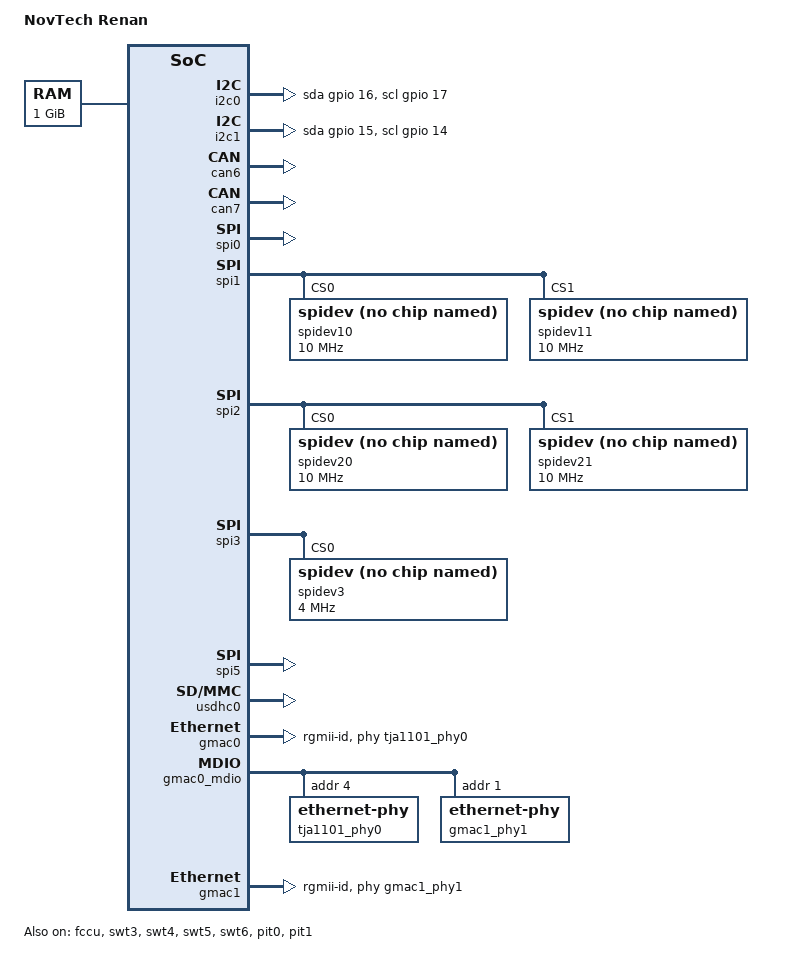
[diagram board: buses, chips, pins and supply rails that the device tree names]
// SPDX-License-Identifier: GPL-2.0
/*
 * Copyright 2023 NXP
 *
 * This program is free software; you can redistribute it and/or modify
 * it under the terms of the GNU General Public License as published by
 * the Free Software Foundation; either version 2 of the License, or
 * (at your option) any later version.
 */

/dts-v1/;
#include "s32r45.dtsi"
#include "s32cc-nxp-flash-macronix.dtsi"
#include <dt-bindings/gpio/gpio.h>

/ {
	model = "NovTech Renan";

	aliases {
		gmac0 = &gmac0;
		gmac1 = &gmac1;
	};

	chosen {
		stdout-path = "serial0:115200n8";
	};

	/* Renan board has only 1GB on RAM. Remap the memory layout. */
	/delete-node/ memory@880000000;

	memory@80000000 {
		device_type = "memory";
		reg = <0 0x80000000 0 0x40000000>; /* 1GB */
	};

	reserved-memory {
		linux,cma {
			compatible = "shared-dma-pool";
			reusable;
			reg = <0x0 0xaa000000 0x0 0x4000000>;	/* 64 MB */
			size = <0 0x4000000>; /* 64MB */
			linux,cma-default;
		};
	};

	soc {
		/* For Rev1 we don't have the QSPI. */
		/delete-node/ qspi;
	};
};

&pci_shared_memory0 {
	reg = <0x0 0xa0400000 0x0 0x400000>;    /* 4 MB */
};

&pci_shared_memory1 {
	reg = <0x0 0xa0800000 0x0 0x400000>;    /* 4 MB */
};

&scmi_tx_buf {
	reg = <0x0 0xa0000000 0x0 0x80>;
};

&scmi_rx_buf {
	reg = <0x0 0xa0000080 0x0 0x80>;
};

&generic_timer {
	clock-frequency = <5000000>;
};

&i2c0 {
	pinctrl-names = "default", "gpio";
	pinctrl-0 = <&i2c0_pins>;
	pinctrl-1 = <&i2c0_gpio_pins>;
	scl-gpios = <&gpio 17 (GPIO_ACTIVE_HIGH | GPIO_OPEN_DRAIN)>;
	sda-gpios = <&gpio 16 (GPIO_ACTIVE_HIGH | GPIO_OPEN_DRAIN)>;
	status = "okay";
};

&i2c1 {
	pinctrl-names = "default", "gpio";
	pinctrl-0 = <&i2c1_pins>;
	pinctrl-1 = <&i2c1_gpio_pins>;
	scl-gpios = <&gpio 14 (GPIO_ACTIVE_HIGH | GPIO_OPEN_DRAIN)>;
	sda-gpios = <&gpio 15 (GPIO_ACTIVE_HIGH | GPIO_OPEN_DRAIN)>;
	status = "okay";
};

&can6 {
	pinctrl-names = "default";
	pinctrl-0 =  <&can6_pins>;
	status = "okay";
};

&can7 {
	pinctrl-names = "default";
	pinctrl-0 =  <&can7_pins>;
	status = "okay";
};

&fccu {
	status = "okay";
};

&swt3 {
	status = "okay";
};

&swt4 {
	status = "okay";
};

&swt5 {
	status = "okay";
};

&swt6 {
	status = "okay";
};

&pit0 {
	status = "okay";
};

&pit1 {
	status = "okay";
};

&pinctrl {
	status = "okay";

	dspi0_pins: dspi0 {
		dspi0_grp0 {
			pinmux = <S32CC_PINMUX(14, FUNC3)>,
			   <S32CC_PINMUX(6, FUNC2)>;
			output-enable;
			slew-rate = <S32CC_GPIO_3V3_SLEW_50MHZ>;
		};

		dspi0_grp1 {
			pinmux = <S32CC_PINMUX(132, FUNC0)>;
			input-enable;
			slew-rate = <S32CC_GPIO_3V3_SLEW_50MHZ>;
			bias-pull-up;
		};

		dspi0_grp2 {
			pinmux = <S32CC_PINMUX(7, FUNC2)>,
			   <S32CC_PINMUX(8, FUNC5)>;
			output-enable;
			slew-rate = <S32CC_GPIO_3V3_SLEW_50MHZ>;
			bias-pull-up;
		};

		dspi0_grp3 {
			pinmux = <S32CC_PINMUX(611, FUNC5)>;
		};
	};

	dspi1_pins: dspi1_pins {
		dspi1_grp0 {
			pinmux = <S32CC_PINMUX(20, FUNC1)>,
			   <S32CC_PINMUX(22, FUNC1)>;
			output-enable;
			slew-rate = <S32CC_GPIO_3V3_SLEW_50MHZ>;
		};

		dspi1_grp1 {
			pinmux = <S32CC_PINMUX(21, FUNC0)>;
			input-enable;
			slew-rate = <S32CC_GPIO_3V3_SLEW_50MHZ>;
			bias-pull-up;
		};

		dspi1_grp2 {
			pinmux = <S32CC_PINMUX(23, FUNC1)>,
			   <S32CC_PINMUX(24, FUNC1)>,
			   <S32CC_PINMUX(35, FUNC1)>,
			   <S32CC_PINMUX(26, FUNC1)>;
			output-enable;
			slew-rate = <S32CC_GPIO_3V3_SLEW_50MHZ>;
			bias-pull-up;
		};

		dspi1_grp3 {
			pinmux = <S32CC_PINMUX(623, FUNC4)>;
		};
	};

	dspi2_pins: dspi2_pins {
		dspi2_grp0 {
			pinmux = <S32CC_PINMUX(27, FUNC1)>,
			   <S32CC_PINMUX(29, FUNC1)>;
			output-enable;
			slew-rate = <S32CC_GPIO_3V3_SLEW_50MHZ>;
		};

		dspi2_grp1 {
			pinmux = <S32CC_PINMUX(30, FUNC1)>,
			   <S32CC_PINMUX(31, FUNC1)>;
			output-enable;
			slew-rate = <S32CC_GPIO_3V3_SLEW_50MHZ>;
			bias-pull-up;
		};

		dspi2_grp2 {
			pinmux = <S32CC_PINMUX(33, FUNC0)>;
			input-enable;
			slew-rate = <S32CC_GPIO_3V3_SLEW_50MHZ>;
			bias-pull-up;
		};

		dspi2_grp3 {
			pinmux = <S32CC_PINMUX(681, FUNC2)>;
		};
	};

	dspi3_pins: dspi3_pins {
		dspi3_grp0 {
			pinmux = <S32CC_PINMUX(45, FUNC1)>,
			   <S32CC_PINMUX(36, FUNC1)>;
			output-enable;
			slew-rate = <S32CC_GPIO_3V3_SLEW_50MHZ>;
		};

		dspi3_grp1 {
			pinmux = <S32CC_PINMUX(38, FUNC1)>;
			input-enable;
			slew-rate = <S32CC_GPIO_3V3_SLEW_50MHZ>;
			bias-pull-up;
		};

		dspi3_grp2 {
			pinmux = <S32CC_PINMUX(39, FUNC1)>,
			   <S32CC_PINMUX(40, FUNC1)>;
			output-enable;
			slew-rate = <S32CC_GPIO_3V3_SLEW_50MHZ>;
			bias-pull-up;
		};

		dspi3_grp3 {
			pinmux = <S32CC_PINMUX(654, FUNC3)>;
		};
	};

	dspi5_pins: dspi5_pins {
		dspi5_grp0 {
			pinmux = <S32CC_PINMUX(128, FUNC1)>,
			   <S32CC_PINMUX(53, FUNC3)>;
			output-enable;
			slew-rate = <S32CC_GPIO_3V3_SLEW_50MHZ>;
		};

		dspi5_grp1 {
			pinmux = <S32CC_PINMUX(133, FUNC4)>;
			input-enable;
			slew-rate = <S32CC_GPIO_3V3_SLEW_50MHZ>;
			bias-pull-up;
		};

		dspi5_grp2 {
			pinmux = <S32CC_PINMUX(131, FUNC3)>;
			output-enable;
			slew-rate = <S32CC_GPIO_3V3_SLEW_50MHZ>;
		};

		dspi5_grp3 {
			pinmux = <S32CC_PINMUX(750, FUNC3)>;
		};
	};

	mdio2_pins: mdio2_pins {
		mdio2_grp0 {
			pinmux = <S32CC_PINMUX(60, FUNC1)>;
			output-enable;
			slew-rate = <S32CC_FAST_SLEW_166MHZ>;
		};

		mdio2_grp1 {
			pinmux = <S32CC_PINMUX(61, FUNC1)>;
			drive-open-drain;
			output-enable;
			input-enable;
			slew-rate = <S32CC_FAST_SLEW_166MHZ>;
		};

		mdio2_grp2 {
			pinmux = <S32CC_PINMUX(527, FUNC2)>;
		};
	};

	rgmii2_pins: rgmii2_pins {
		 rgmii2_grp0 {
			 pinmux = <S32CC_PINMUX(66, FUNC1)>;
			 output-enable;
			 slew-rate = <S32CC_FAST_SLEW_166MHZ>;
			 bias-pull-up;
		 };

		 rgmii2_grp1 {
			 pinmux = <S32CC_PINMUX(67, FUNC1)>,
				<S32CC_PINMUX(68, FUNC1)>,
				<S32CC_PINMUX(69, FUNC1)>,
				<S32CC_PINMUX(70, FUNC1)>,
				<S32CC_PINMUX(71, FUNC1)>;
			 output-enable;
			 slew-rate = <S32CC_FAST_SLEW_166MHZ>;
		 };

		 rgmii2_grp2 {
			 pinmux = <S32CC_PINMUX(72, FUNC1)>,
				<S32CC_PINMUX(73, FUNC6)>,
				<S32CC_PINMUX(74, FUNC6)>,
				<S32CC_PINMUX(75, FUNC6)>,
				<S32CC_PINMUX(76, FUNC6)>,
				<S32CC_PINMUX(77, FUNC6)>;
			 input-enable;
			 slew-rate = <S32CC_FAST_SLEW_166MHZ>;
		 };

		 rgmii2_grp3 {
			 pinmux = <S32CC_PINMUX(538, FUNC2)>,
				<S32CC_PINMUX(529, FUNC2)>,
				<S32CC_PINMUX(530, FUNC2)>,
				<S32CC_PINMUX(531, FUNC2)>,
				<S32CC_PINMUX(532, FUNC2)>,
				<S32CC_PINMUX(533, FUNC2)>,
				<S32CC_PINMUX(534, FUNC2)>;
		 };
	 };

	/* From the schematics looks like GMAC1 does not have dedicated MDIO pins. */
	rgmii3_pins: rgmii3_pins {
		 rgmii3_grp0 {
			 pinmux = <S32CC_PINMUX(109, FUNC2)>;
			 output-enable;
			 slew-rate = <S32CC_FAST_SLEW_166MHZ>;
			 bias-pull-up;
		 };

		 rgmii3_grp1 {
			 pinmux = <S32CC_PINMUX(110, FUNC2)>,
				<S32CC_PINMUX(105, FUNC2)>,
				<S32CC_PINMUX(106, FUNC2)>,
				<S32CC_PINMUX(107, FUNC2)>,
				<S32CC_PINMUX(108, FUNC1)>;
			 output-enable;
			 slew-rate = <S32CC_FAST_SLEW_166MHZ>;
		 };

		 rgmii3_grp2 {
			 pinmux = <S32CC_PINMUX(113, FUNC1)>,
				<S32CC_PINMUX(114, FUNC2)>,
				<S32CC_PINMUX(115, FUNC1)>,
				<S32CC_PINMUX(116, FUNC1)>,
				<S32CC_PINMUX(117, FUNC1)>,
				<S32CC_PINMUX(118, FUNC2)>;
			 input-enable;
			 slew-rate = <S32CC_FAST_SLEW_166MHZ>;
		 };

		 rgmii3_grp3 {
			 pinmux = <S32CC_PINMUX(660, FUNC2)>,
				<S32CC_PINMUX(662, FUNC2)>,
				<S32CC_PINMUX(663, FUNC2)>,
				<S32CC_PINMUX(664, FUNC2)>,
				<S32CC_PINMUX(665, FUNC2)>,
				<S32CC_PINMUX(666, FUNC2)>,
				<S32CC_PINMUX(667, FUNC2)>;
		 };
	};

	i2c0_pins: i2c0_pins {
		i2c0_grp0 {
			pinmux = <S32CC_PINMUX(16, FUNC1)>,
				<S32CC_PINMUX(17, FUNC1)>;
			drive-open-drain;
			output-enable;
			input-enable;
			slew-rate = <S32CC_GPIO_3V3_SLEW_50MHZ>;
		};

		i2c0_grp1 {
			pinmux = <S32CC_PINMUX(565, FUNC2)>,
					 <S32CC_PINMUX(566, FUNC2)>;
		};
	};

	i2c0_gpio_pins: i2c0_gpio_pins {
			i2c0_gpio_grp0 {
				pinmux = <S32CC_PINMUX(16, FUNC0)>,
						 <S32CC_PINMUX(17, FUNC0)>;
				drive-open-drain;
				output-enable;
				slew-rate = <S32CC_GPIO_3V3_SLEW_50MHZ>;
			};

			i2c0_gpio_grp1 {
				pinmux = <S32CC_PINMUX(565, FUNC0)>,
						 <S32CC_PINMUX(566, FUNC0)>;
			};
	};

	i2c1_pins: i2c1_pins {
		i2c1_grp0 {
			pinmux = <S32CC_PINMUX(615, FUNC2)>,
				<S32CC_PINMUX(616, FUNC2)>;
		};

		i2c1_grp1 {
			pinmux = <S32CC_PINMUX(44, FUNC5)>,
					 <S32CC_PINMUX(15, FUNC3)>;
			drive-open-drain;
			output-enable;
			input-enable;
			slew-rate = <S32CC_GPIO_3V3_SLEW_50MHZ>;
		};
	};

	i2c1_gpio_pins: i2c1_gpio_pins {
		i2c1_gpio_grp0 {
				pinmux = <S32CC_PINMUX(615, FUNC0)>,
				   <S32CC_PINMUX(616, FUNC0)>;
			};

		i2c1_gpio_grp1 {
			pinmux = <S32CC_PINMUX(44, FUNC0)>,
				   <S32CC_PINMUX(15, FUNC0)>;
			drive-open-drain;
			output-enable;
			slew-rate = <S32CC_GPIO_3V3_SLEW_50MHZ>;
		};
	};

	qspi_pins: qspi_pins {
		qspi_grp0 {
			pinmux = <S32CC_PINMUX(85, FUNC1)>,
				<S32CC_PINMUX(86, FUNC1)>,
				<S32CC_PINMUX(87, FUNC1)>,
				<S32CC_PINMUX(88, FUNC1)>,
				<S32CC_PINMUX(89, FUNC1)>,
				<S32CC_PINMUX(90, FUNC1)>,
				<S32CC_PINMUX(91, FUNC1)>,
				<S32CC_PINMUX(92, FUNC1)>,
				<S32CC_PINMUX(93, FUNC1)>;
			output-enable;
			input-enable;
			slew-rate = <S32CC_GPIO_1V8_SLEW_150MHZ>;
			bias-pull-down;
		};

		qspi_grp1 {
			pinmux = <S32CC_PINMUX(96, FUNC1)>;
			output-enable;
			slew-rate = <S32CC_GPIO_1V8_SLEW_150MHZ>;
		};

		qspi_grp2 {
			pinmux = <S32CC_PINMUX(100, FUNC1)>,
				<S32CC_PINMUX(101, FUNC1)>;
			output-enable;
			input-enable;
			slew-rate = <S32CC_GPIO_1V8_SLEW_150MHZ>;
			bias-pull-up;
		};

		qspi_grp3 {
			pinmux = <S32CC_PINMUX(540, FUNC2)>,
				<S32CC_PINMUX(541, FUNC2)>,
				<S32CC_PINMUX(542, FUNC2)>,
				<S32CC_PINMUX(543, FUNC2)>,
				<S32CC_PINMUX(544, FUNC2)>,
				<S32CC_PINMUX(545, FUNC2)>,
				<S32CC_PINMUX(546, FUNC2)>,
				<S32CC_PINMUX(548, FUNC2)>,
				<S32CC_PINMUX(547, FUNC2)>;
		};
	};

	can6_pins: can6_pins {
		can6_grp0 {
			pinmux = <S32CC_PINMUX(102, FUNC3)>;
			output-enable;
			slew-rate = <S32CC_GPIO_3V3_SLEW_50MHZ>;
		};

		can6_grp1 {
			pinmux = <S32CC_PINMUX(104, FUNC0)>;
			input-enable;
			slew-rate = <S32CC_GPIO_3V3_SLEW_50MHZ>;
		};

		can6_grp2 {
			pinmux = <S32CC_PINMUX(655, FUNC3)>;
		};

	};

	can7_pins: can7_pins {
		can7_grp0 {
			pinmux = <S32CC_PINMUX(120, FUNC3)>;
			output-enable;
			slew-rate = <S32CC_GPIO_3V3_SLEW_50MHZ>;
		};

		can7_grp1 {
			pinmux = <S32CC_PINMUX(123, FUNC0)>;
			input-enable;
			slew-rate = <S32CC_GPIO_3V3_SLEW_50MHZ>;
		};

		can7_grp2 {
			pinmux = <S32CC_PINMUX(657, FUNC3)>;
		};
	};
};

&edma0 {
	status = "okay";
};

&edma1 {
	status = "okay";
};

&spi0 {
	status = "okay";
};

&spi1 {
	pinctrl-names = "default";
	pinctrl-0 = <&dspi1_pins>;
	#address-cells = <1>;
	#size-cells = <0>;
	status = "okay";

	spidev10: spidev@0 {
		compatible = "rohm,dh2228fv";
		spi-max-frequency = <10000000>;
		reg = <0>;
		fsl,spi-cs-sck-delay = <100>;
		fsl,spi-sck-cs-delay = <100>;
	};

	spidev11: spidev@1 {
		compatible = "rohm,dh2228fv";
		spi-max-frequency = <10000000>;
		reg = <1>;
		fsl,spi-cs-sck-delay = <100>;
		fsl,spi-sck-cs-delay = <100>;
	};
};

&spi2 {
	pinctrl-names = "default";
	pinctrl-0 = <&dspi2_pins>;
	#address-cells = <1>;
	#size-cells = <0>;
	status = "okay";

	spidev20: spidev@0 {
		compatible = "rohm,dh2228fv";
		spi-max-frequency = <10000000>;
		reg = <0>;
		fsl,spi-cs-sck-delay = <100>;
		fsl,spi-sck-cs-delay = <100>;
	};

	spidev21: spidev@1 {
		compatible = "rohm,dh2228fv";
		spi-max-frequency = <10000000>;
		reg = <1>;
		fsl,spi-cs-sck-delay = <100>;
		fsl,spi-sck-cs-delay = <100>;
	};
};

&spi3 {
	pinctrl-names = "default";
	pinctrl-0 = <&dspi3_pins>;
	#address-cells = <1>;
	#size-cells = <0>;
	status = "okay";

	spidev3: spidev@0 {
		compatible = "rohm,dh2228fv";
		spi-max-frequency = <4000000>;
		reg = <0>;
		fsl,spi-sck-cs-delay = <100>;
	};
};

&spi5 {
	pinctrl-names = "default";
	pinctrl-0 =  <&dspi5_pins>;
	status = "okay";
};

&usdhc0 {
	no-1-8-v;
	status = "okay";
};

&gmac0 {
	pinctrl-names = "default";
	pinctrl-0 = <&rgmii2_pins>, <&mdio2_pins>;
	phy-mode = "rgmii-id";
	phy-handle = <&tja1101_phy0>;
	status = "okay";
};

&gmac0_mdio {
	tja1101_phy0: ethernet-phy@4 {
		reg = <4>;
	};
	gmac1_phy1: ethernet-phy@1 {
		reg = <1>;
	};
};

&gmac1 {
	pinctrl-names = "default";
	phy-mode = "rgmii-id";
	status = "okay";
	pinctrl-0 = <&rgmii3_pins>;
	phy-handle = <&gmac1_phy1>;
};
